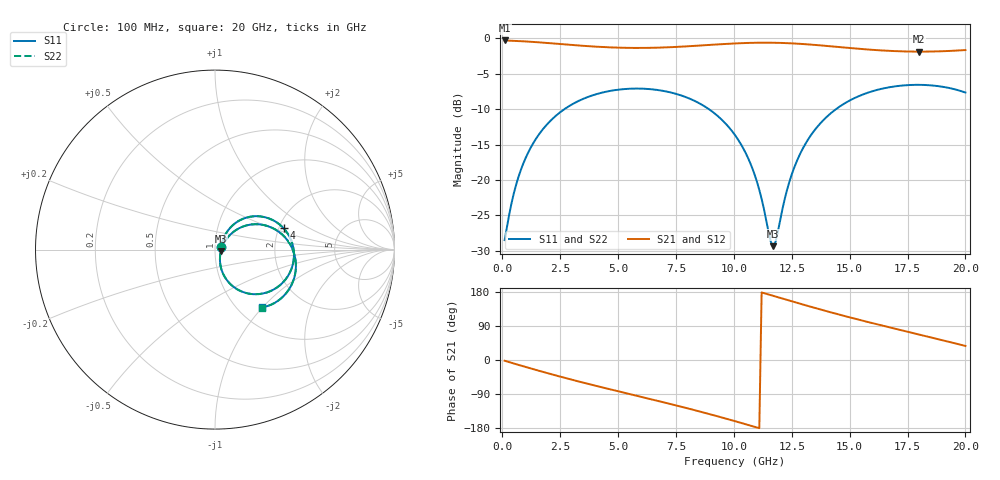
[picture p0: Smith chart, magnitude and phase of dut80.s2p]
! Touchstone file exported from HFSS 2026.1.0
!  File:  C:/ffzhzh/LocalFiles/Ansys_Project_Files/temp_train_TSV_RDL_80_1782971240_6388.aedt
!  Generated:  02:00:42 PM Jul  2, 2026
!  Design:  TSV_RDL
!  Project:  temp_train_TSV_RDL_80_1782971240_6388
! Variables:
!  h_bsmrdl = 2.62um
!  h_ox = 20um
!  h_rdl = 5um
!  h_sub = 72.98um
!  h_tmrdl = 5.41um
!  h_tsv = 72.98um
!  h_via = 3um
!  l_bsmrdl = 808.63um
!  l_sub = 5481.28um
!  l_tmrdl = 636.03um
!  m_sub = 200um
!  pitch = 34.7um
!  r_tsv = 6.6um
!  s_tmrdl = 10um
!  w_bsmrdl = 12.4um
!  w_sub = 500um
!  w_tmrdl = 24.69um
!  x_tsv_center1 = 648.375um
!  x_tsv_center2 = 1469.405um
!  x_tsv_center3 = 2130.125um
!  x_tsv_center4 = 2951.155um
!  x_tsv_center5 = 3611.875um
!  x_tsv_center6 = 4432.905um
# GHz S MA R 50.000000
! Terminal data exported
! Port[1] = TM_RDL1_1_T1
! Port[2] = TM_RDL5_1_T1
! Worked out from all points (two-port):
!   200 points, 100 MHz to 20 GHz, reference 50 ohm
!   highest |S21| = -0.30 dB at 100 MHz (marker M1); lowest = -1.9 dB at 18 GHz (marker M2)
!   |S21| within 3 dB of the highest: start of sweep to end of sweep
!   lowest |S11| = -29.3 dB at 11.7 GHz (marker M3), VSWR 1.07, Z = 53.4 - j0.869 ohm
!   |S11| at or under -10 dB: start of sweep to 2.682 GHz; 8.923 GHz to 14.41 GHz (5.488 GHz wide, 47 % of centre)
!   |S22| runs from -29.4 to -6.6 dB; largest |S21 - S12| = 1.6e-14
!   S11 on the Smith chart (normalised r, x): 100 MHz: 1.07, +0.03; 4 GHz: 2.13, +0.60; 20 GHz: 1.27, -0.99
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0.1  0.03768 22.6  0.9656 -1.9  0.9656 -1.9  0.03768 22.6
! Gamma 0 0 0 0
! Port Impedance 50 0 50 0
0.6  0.09303 54.6  0.958 -11.1  0.958 -11.1  0.09303 54.6
1.3  0.1777 53.2  0.9437 -23.5  0.9437 -23.5  0.1777 53.2
2.2  0.2734 42.3  0.9198 -38.9  0.9198 -38.9  0.2734 42.3
3.5  0.3743 24.2  0.8848 -59.8  0.8848 -59.8  0.3743 24.2
4  0.4007 17.2  0.8739 -67.5  0.8739 -67.5  0.4007 17.2
5.4  0.44 -2.1  0.8562 -88.4  0.8562 -88.4  0.44 -2.2
6.8  0.4297 -21.4  0.8599 -109.1  0.8599 -109.1  0.4297 -21.4
8.5  0.3486 -45.3  0.8883 -135.5  0.8883 -135.5  0.3487 -45.3
10.1  0.202 -66.8  0.9208 -162.3  0.9208 -162.3  0.202 -66.9
10.9  0.1089 -71.8  0.9301 -176.4  0.9301 -176.4  0.1089 -71.9
11.2  0.07355 -67.6  0.9314 178.2  0.9314 178.2  0.07355 -67.7
11.6  0.03656 -33.0  0.9311 171.1  0.9311 171.1  0.03646 -33.3
11.7  0.03415 -13.8  0.9306 169.3  0.9306 169.3  0.03401 -13.9
11.8  0.03661 5.5  0.93 167.5  0.93 167.5  0.03644 5.5
12.2  0.07381 40.0  0.9259 160.3  0.9259 160.3  0.07367 40.0
12.5  0.1094 44.2  0.9213 154.9  0.9213 154.9  0.1093 44.3
13.4  0.2151 38.2  0.901 139.1  0.901 139.1  0.215 38.2
15  0.3638 16.7  0.8543 112.6  0.8543 112.6  0.3637 16.7
16.7  0.4511 -6.7  0.8157 86.5  0.8157 86.5  0.451 -6.8
18  0.4696 -24.2  0.8053 67.3  0.8053 67.3  0.4696 -24.2
20  0.4143 -51.1  0.8262 37.0  0.8262 37.0  0.4142 -51.2
